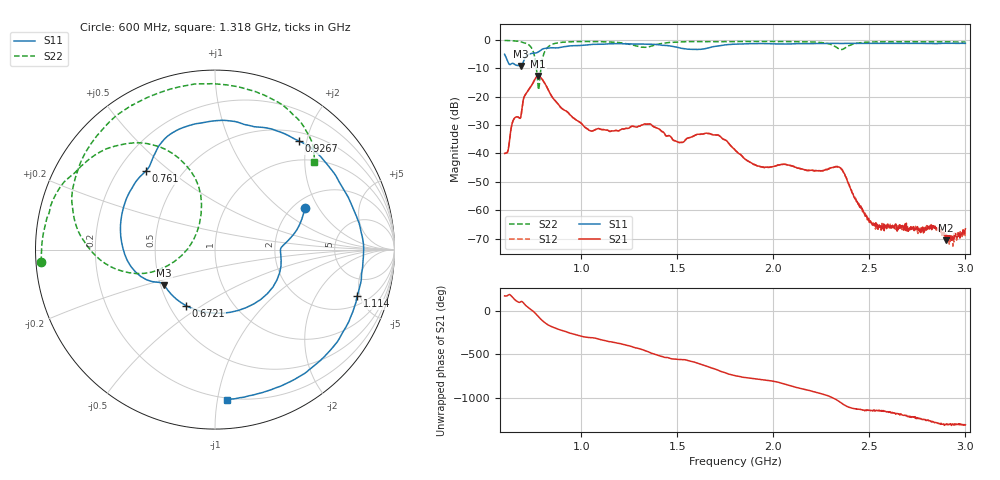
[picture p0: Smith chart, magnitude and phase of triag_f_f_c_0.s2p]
#  HZ  S  RI  R  50.00
! Rohde & Schwarz ZVB8 2Ports - Version 2.81 - 1145.1010k08 SN: 100113
! Date: 2016-05-03 01:38:06
! Measurements: S11 S21 S12 S22
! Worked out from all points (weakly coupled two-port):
!   1000 points, 600 MHz to 3 GHz, reference 50 ohm
!   highest |S21| = -12.78 dB at 775.4 MHz (marker M1); lowest = -70.6 dB at 2.899 GHz (marker M2)
!   lowest |S11| = -9.2 dB at 686.5 MHz (marker M3), VSWR 2.06, Z = 26.1 - j11.8 ohm
!   |S11| at or under -10 dB: nowhere
!   |S22| runs from -17.6 to -0.3 dB; largest |S21 - S12| = 0.0034
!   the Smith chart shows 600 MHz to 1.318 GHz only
!   S11 on the Smith chart (normalised r, x): 600 MHz: 2.29, +1.54; 672.1 MHz: 0.61, -0.43; 761 MHz: 0.31, +0.41; 926.7 MHz: 0.64, +1.86; 1.114 GHz: 2.77, -4.70; 1.318 GHz: 0.19, -1.06
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6e8  0.5014 0.234  -0.0099 0.00141  -0.00992 0.00147  -0.9673 -0.0693
6.720721e8  -0.1605 -0.3132  -0.00741 0.0427  -0.00762 0.0426  -0.8875 0.3067
6.864865e8  -0.2825 -0.1988  -0.014 0.0463  -0.0145 0.0461  -0.8292 0.3877
7.345345e8  -0.5006 0.2643  0.1392 0.0468  0.139 0.0462  -0.4798 0.5921
7.60961e8  -0.3854 0.4376  0.1812 -0.1061  0.1801 -0.1044  -0.1112 0.4003
7.753754e8  -0.3514 0.4971  0.0948 -0.2091  0.0981 -0.2094  -0.0999 0.0987
7.96997e8  -0.266 0.6305  -0.0795 -0.1816  -0.0776 -0.1826  -0.4389 -0.1333
8.33033e8  -0.0239 0.715  -0.1182 -0.0211  -0.1176 -0.021  -0.7684 0.1188
9.267267e8  0.4659 0.6067  -0.0219 0.0491  -0.0221 0.0489  -0.6518 0.6413
1.001201e9  0.7301 0.3136  0.0133 0.0307  0.013 0.0308  -0.3983 0.8371
1.114114e9  0.7922 -0.259  0.0246 0.00963  0.0244 0.00969  0.0539 0.9193
1.318318e9  0.0655 -0.8364  0.00176 -0.0318  0.0018 -0.0317  0.5523 0.4875
1.4e9  -0.2964 -0.7609  -0.0241 -0.013  -0.0241 -0.0131  0.7148 0.4311
1.568168e9  -0.5929 -0.3264  -0.0149 0.012  -0.0149 0.012  0.9062 -0.1953
1.801201e9  -0.7846 0.2852  0.0102 -0.00506  0.0102 -0.00495  0.4021 -0.8329
2.000601e9  -0.2464 0.8083  -2.49e-05 -0.00592  5.42e-05 -0.00588  -0.2233 -0.902
2.2e9  0.4896 0.6995  -0.00463 0.002  -0.00465 0.00207  -0.702 -0.5852
2.346547e9  0.8338 0.2071  0.00482 0.00296  0.00483 0.00289  -0.6401 -0.2192
2.493093e9  0.7605 -0.4052  0.000287 -0.00062  0.000294 -0.000609  -0.9007 -0.0991
2.601201e9  0.4612 -0.7281  8.15e-05 -0.000515  2.71e-05 -0.000578  -0.9036 0.1732
2.899099e9  -0.5719 -0.6486  -0.000202 0.000214  -0.000163 0.000263  -0.5341 0.7423
3e9  -0.7807 -0.367  -0.000291 0.000373  -0.000232 0.000243  -0.3167 0.8516
